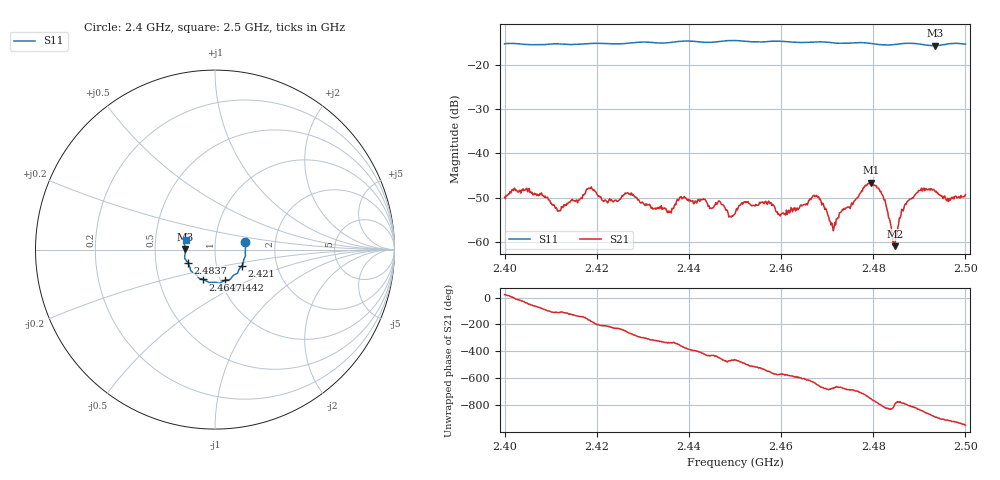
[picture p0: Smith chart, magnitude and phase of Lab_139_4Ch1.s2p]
# Hz S RI R 50
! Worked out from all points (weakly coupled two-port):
!   601 points, 2.4 GHz to 2.5 GHz, reference 50 ohm
!   highest |S21| = -46.62 dB at 2.4795 GHz (marker M1); lowest = -61.0 dB at 2.4847 GHz (marker M2)
!   lowest |S11| = -15.6 dB at 2.4935 GHz (marker M3), VSWR 1.40, Z = 35.8 + j0.191 ohm
!   |S11| at or under -10 dB: start of sweep to end of sweep
!   S12 and S22 are empty: the file has one direction only
!   S11 on the Smith chart (normalised r, x): 2.4 GHz: 1.40, +0.12; 2.421 GHz: 1.33, -0.24; 2.4442 GHz: 1.05, -0.37; 2.4647 GHz: 0.83, -0.28; 2.4837 GHz: 0.73, -0.11; 2.5 GHz: 0.72, +0.08
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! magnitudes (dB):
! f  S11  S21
! 2.4 GHz  -15.2  -49.9
! 2.4048 GHz  -15.4  -47.9
! 2.4117 GHz  -15.2  -53.0
! 2.4167 GHz  -15.3  -50.1
! 2.4185 GHz  -15.2  -48.0
! 2.421 GHz  -15.1  -50.3
! 2.427 GHz  -15.1  -49.2
! 2.4333 GHz  -15.0  -52.2
! 2.4442 GHz  -14.9  -51.9
! 2.45 GHz  -14.5  -53.7
! 2.4523 GHz  -14.6  -51.1
! 2.4647 GHz  -14.9  -51.7
! 2.4667 GHz  -14.8  -50.0
! 2.4713 GHz  -15.0  -57.5
! 2.4795 GHz  -15.1  -46.6
! 2.4817 GHz  -15.4  -48.6
! 2.4833 GHz  -15.5  -54.6
! 2.4837 GHz  -15.5  -55.4
! 2.4847 GHz  -15.4  -61.0
! 2.4873 GHz  -15.1  -50.9
! 2.4935 GHz  -15.6  -48.7
! 2.5 GHz  -15.3  -49.3
